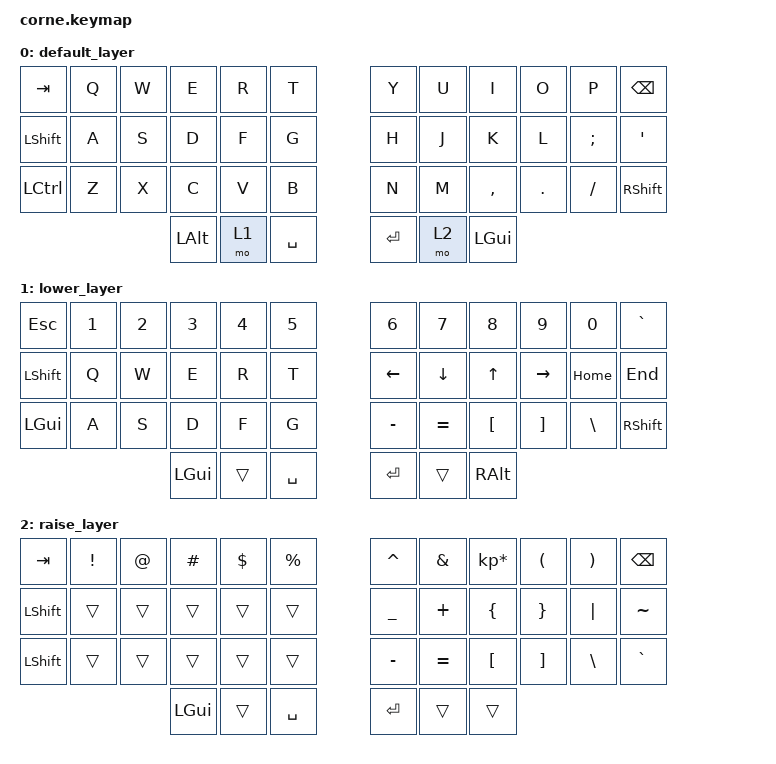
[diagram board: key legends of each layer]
#include <../boards/shields/corne/boards/nice_nano.overlay>
#include <dt-bindings/zmk/rgb.h>
/*
 * Copyright (c) 2020 The ZMK Contributors
 *
 * SPDX-License-Identifier: MIT
 */

#include <behaviors.dtsi>
#include <dt-bindings/zmk/keys.h>
#include <dt-bindings/zmk/bt.h>

/ {
        keymap {
                compatible = "zmk,keymap";

                default_layer {
// -----------------------------------------------------------------------------------------
// |  TAB |  Q  |  W  |  E  |  R  |  T  |   |  Y  |  U   |  I  |  O  |  P  | BKSP |
// | SHFT |  A  |  S  |  D  |  F  |  G  |   |  H  |  J   |  K  |  L  |  ;  |  '   |
// | CTRL |  Z  |  X  |  C  |  V  |  B  |   |  N  |  M   |  ,  |  .  |  /  | ESC  |
//                    | GUI | LWR | SPC |   | ENT | RSE  | ALT |
                        bindings = <
   &kp TAB   &kp Q &kp W &kp E &kp R &kp T   &kp Y &kp U  &kp I     &kp O   &kp P    &kp BSPC 
   &kp LSHFT &kp A &kp S &kp D &kp F &kp G   &kp H &kp J  &kp K     &kp L   &kp SEMI &kp SQT
   &kp LCTRL &kp Z &kp X &kp C &kp V &kp B   &kp N &kp M  &kp COMMA &kp DOT &kp FSLH &kp RSHFT
                  &kp LALT &mo 1 &kp SPACE   &kp RET &mo 2 &kp LGUI
                        >;
                };
                lower_layer {
// -----------------------------------------------------------------------------------------
// |  TAB |  1  |  2  |  3  |  4  |  5  |   |  6  |  7  |  8  |  9  |  0   | BKSP |
// | BTCLR| BT1 | BT2 | BT3 | BT4 | BT5 |   | LFT | DWN |  UP | RGT | HOME | END  |
// | SHFT |     |     |     |     |     |   |  -  |  =  |  [  |  ]  |  \   |  `   |
//                    | GUI |     | SPC |   | ENT |     | ALT |
                        bindings = <
   &kp ESC    &kp N1       &kp N2       &kp N3       &kp N4       &kp N5         &kp N6    &kp N7    &kp N8      &kp N9      &kp N0     &kp GRAVE
   &kp LSHFT  &kp Q        &kp W        &kp E        &kp R        &kp T          &kp LEFT  &kp DOWN  &kp UP      &kp RIGHT   &kp HOME   &kp END
   &kp LGUI   &kp A        &kp S        &kp D        &kp F        &kp G          &kp MINUS &kp EQUAL &kp LBKT    &kp RBKT    &kp BSLH   &kp RSHFT
                          	        &kp LGUI     &trans       &kp SPACE      &kp RET   &trans    &kp RALT
                        >;
                };

                raise_layer {
// -----------------------------------------------------------------------------------------
// |  TAB |  !  |  @  |  #  |  $  |  %  |  |  ^  |  &  |  *  |  (  |  )  | BKSP |
// | CTRL | RGB_TOG |    |    |    |     |   |  _  |  +  |  {  |  }  | "|" |  ~   |
// | SHFT | RGB_EFF |    |    |    |     |   |  -  |  =  |  [  |  ]  |  \  |  `   |
//                    | GUI |     | SPC |  | ENT |     | ALT |
                        bindings = <
   &kp  TAB   &kp EXCL         &kp AT       &kp HASH     &kp DLLR     &kp PRCNT           &kp CARET &kp AMPS  &kp KP_MULTIPLY &kp LPAR &kp RPAR &kp BSPC
   &kp LSHFT  &trans           &trans       &trans       &trans       &trans              &kp UNDER &kp PLUS  &kp LBRC        &kp RBRC &kp PIPE &kp TILDE
   &kp LSHFT  &trans           &trans       &trans       &trans       &trans              &kp MINUS &kp EQUAL &kp LBKT        &kp RBKT &kp BSLH &kp GRAVE
                    	                                 &kp LGUI &trans   &kp SPACE      &kp RET   &trans    &trans
                        >;
                };
        };
};
